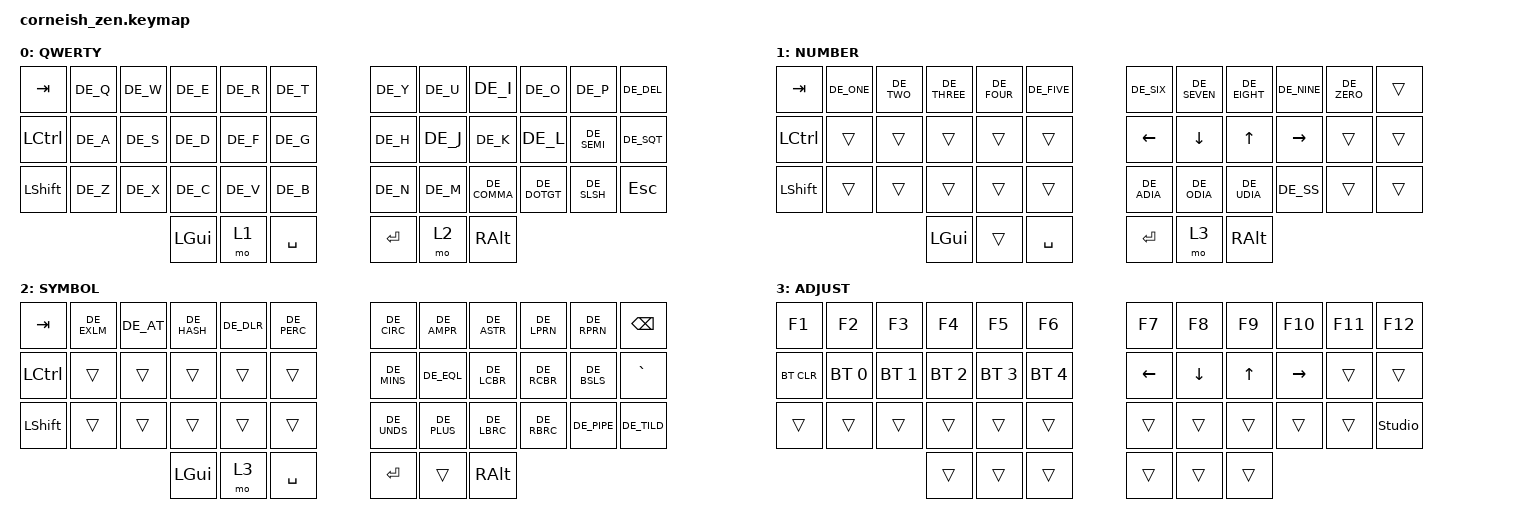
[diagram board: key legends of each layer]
/*
*
* Copyright (c) 2021 Darryl deHaan
* SPDX-License-Identifier: MIT
*
*/

#include <behaviors.dtsi>
#include <dt-bindings/zmk/keys.h>
#include <dt-bindings/zmk/bt.h>

#include "de_morphs.dtsi"

#define LAYER_DEFAULT   0
#define LAYER_LOWER     1
#define LAYER_UPPER     2
#define LAYER_ADJUST    3

/ {
    chosen {
        zmk,physical-layout = &foostan_corne_6col_layout;
        // zmk,physical-layout = &foostan_corne_5col_layout;
    };
};

/ {
    keymap {
        compatible = "zmk,keymap";

        default_layer {
            display-name = "QWERTY";
// --------------------------------------------------------------------------------
// |  TAB |  Q  |  W  |  E  |  R  |  T  |   |  Y  |  U   |  I  |  O  |  P  | BSPC |
// | CTRL |  A  |  S  |  D  |  F  |  G  |   |  H  |  J   |  K  |  L  |  ;  |  '   |
// | SHFT |  Z  |  X  |  C  |  V  |  B  |   |  N  |  M   |  ,  |  .  |  /  | ESC  |
//                    | GUI | LWR | SPC |   | ENT | RSE  | ALT |
            bindings = <
&kp TAB   &kp DE_Q &kp DE_W &kp DE_E &kp DE_R &kp DE_T         &kp DE_Y &kp DE_U  &kp DE_I    &kp DE_O    &kp DE_P       &kp DE_DEL
&kp LCTRL &kp DE_A &kp DE_S &kp DE_D &kp DE_F &kp DE_G         &kp DE_H &kp DE_J  &kp DE_K    &kp DE_L    &kp DE_SEMI    &kp DE_SQT
&kp LSHFT &kp DE_Z &kp DE_X &kp DE_C &kp DE_V &kp DE_B         &kp DE_N &kp DE_M  &kp DE_COMMA &kp DE_DOTGT  &kp DE_SLSH  &kp ESCAPE
                            &kp LGUI &mo 1 &kp SPACE         &kp RET &mo 2 &kp RALT
            >;
        };

        lower_layer {
            display-name = "NUMBER";
// -----------------------------------------------------------------------------------------
// |  TAB |  1  |  2  |  3  |  4  |  5  |   |  6  |  7  |  8  |  9  |  0  | BSPC |
// | CTRL |     |     |     |     |     |   | LFT | DWN |  UP | RGT |     |      |
// | SHFT |     |     |     |     |     |   |     |     |     |     |     |      |
//                    | GUI | [o] | SPC |   | ENT | ADJ | ALT |
            bindings = <
&kp TAB    &kp DE_ONE   &kp DE_TWO   &kp DE_THREE &kp DE_FOUR  &kp DE_FIVE    &kp DE_SIX     &kp DE_SEVEN     &kp DE_EIGHT    &kp DE_NINE    &kp DE_ZERO &trans
&kp LCTRL  &trans     &trans     &trans   &trans    &trans      &kp LEFT     &kp DOWN     &kp UP      &kp RIGHT   &trans   &trans
&kp LSHFT  &trans     &trans     &trans   &trans    &trans      &kp DE_ADIA  &kp DE_ODIA  &kp DE_UDIA &kp DE_SS   &trans   &trans
                            &kp LGUI      &trans    &kp SPACE   &kp RET      &mo 3        &kp RALT
            >;
        };

        raise_layer {
            display-name = "SYMBOL";
// -----------------------------------------------------------------------------------------
// |  TAB |  !  |  @  |  #  |  $  |  %  |   |  ^  |  &  |  *  |  (  |  )  | BSPC |
// | CTRL |     |     |     |     |     |   |  -  |  =  |  [  |  ]  |  \  |  `   |
// | SHFT |     |     |     |     |     |   |  _  |  +  |  {  |  }  | "|" |  ~   |
//                    | GUI | ADJ | SPC |   | ENT | [o] | ALT |
            bindings = <
&kp TAB   &kp DE_EXLM &kp DE_AT &kp DE_HASH &kp DE_DLR &kp DE_PERC &kp DE_CIRC &kp DE_AMPR &kp DE_ASTR  &kp DE_LPRN &kp DE_RPRN &kp BSPC
&kp LCTRL &trans      &trans    &trans      &trans     &trans      &kp DE_MINS &kp DE_EQL  &kp DE_LCBR  &kp DE_RCBR &kp DE_BSLS &kp GRAVE
&kp LSHFT &trans      &trans    &trans      &trans     &trans      &kp DE_UNDS &kp DE_PLUS &kp DE_LBRC  &kp DE_RBRC &kp DE_PIPE &kp DE_TILD
                      &kp LGUI  &mo 3       &kp SPACE  &kp RET     &trans      &kp RALT
            >;
        };

        adjust_layer {
            display-name = "ADJUST";
// -----------------------------------------------------------------------------------------
// | BTCLR| BT1 | BT2 | BT3 | BT4 | BT5 |   | LFT | DWN |  UP | RGT |     |      |
// | SHFT |     |     |     |     |     |   |     |     |     |     |     |      |
// |  TAB |  1  |  2  |  3  |  4  |  5  |   |  6  |  7  |  8  |  9  |  0  |studio|
//                    | GUI |     | SPC |   | ENT |     | ALT |
            bindings = <
&kp F1     &kp F2       &kp F3       &kp F4       &kp F5       &kp F6         &kp F7   &kp F8   &kp F9  &kp F10     &kp F11 &kp F12
&bt BT_CLR &bt BT_SEL 0 &bt BT_SEL 1 &bt BT_SEL 2 &bt BT_SEL 3 &bt BT_SEL 4   &kp LEFT &kp DOWN &kp UP  &kp RIGHT   &trans  &trans
&trans     &trans       &trans       &trans       &trans       &trans         &trans   &trans   &trans  &trans      &trans  &studio_unlock
                                     &trans       &trans       &trans         &trans   &trans   &trans
            >;
        };
    };
};
